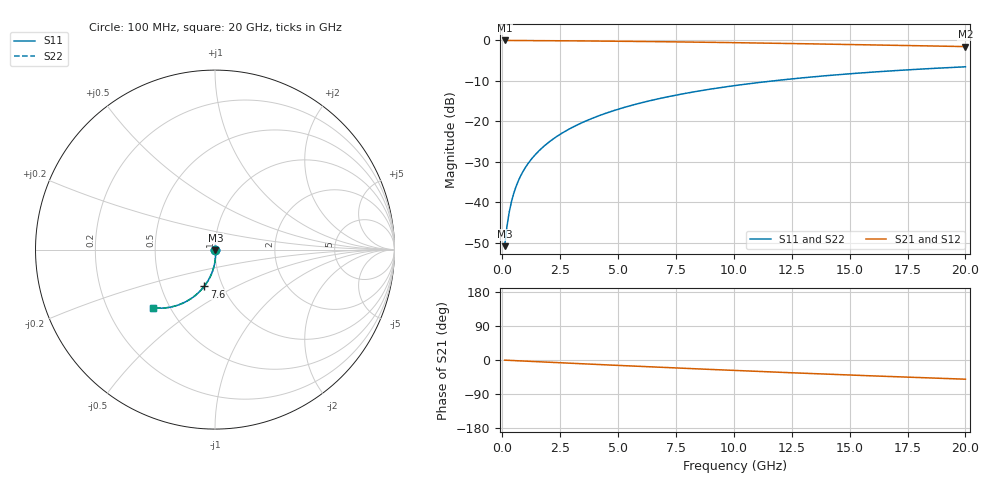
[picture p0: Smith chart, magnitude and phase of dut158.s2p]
! Touchstone file exported from HFSS 2026.1.0
!  File:  C:/ffzhzh/LocalFiles/Ansys_Project_Files/temp_train_BSMRDL_158_1782986741_42984.aedt
!  Generated:  06:07:26 PM Jul  2, 2026
!  Design:  BSMRDL
!  Project:  temp_train_BSMRDL_158_1782986741_42984
! Variables:
!  h_bsmrdl = 5.88um
!  h_ox = 20um
!  h_rdl = 5um
!  h_sub = 80um
!  h_tmrdl = 5um
!  h_tsv = 80um
!  h_via = 3um
!  l_bsmrdl = 730.63um
!  l_sub = 1130.63um
!  l_tmrdl = 200um
!  m_sub = 200um
!  pitch = 25.73um
!  r_tsv = 6um
!  s_tmrdl = 10um
!  w_bsmrdl = 24.57um
!  w_sub = 500um
!  w_tmrdl = 12um
!  x_tsv_center1 = 206um
!  x_tsv_center2 = 961.2um
!  x_tsv_center3 = 1173.2um
!  x_tsv_center4 = 1928.4um
!  x_tsv_center5 = 2140.4um
!  x_tsv_center6 = 2895.6um
# GHz S MA R 50.000000
! Terminal data exported
! Port[1] = BSM_RDL1_1_T1
! Port[2] = BSM_RDL1_1_T2
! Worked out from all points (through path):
!   200 points, 100 MHz to 20 GHz, reference 50 ohm
!   highest |S21| = -0.02 dB at 100 MHz (marker M1); lowest = -1.5 dB at 20 GHz (marker M2)
!   group delay of S21, straight-line fit = 7.03 ps
!   lowest |S11| = -50.8 dB at 100 MHz (marker M3), VSWR 1.01, Z = 50.2 - j0.186 ohm
!   |S11| at or under -10 dB: start of sweep to 11.69 GHz
!   |S22| runs from -50.8 to -6.5 dB; largest |S21 - S12| = 3e-14
!   S11 on the Smith chart (normalised r, x): 100 MHz: 1.00, -0.00; 7.6 GHz: 0.82, -0.35; 20 GHz: 0.41, -0.34
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0.1  0.002889 -39.7  0.9978 -0.3  0.9978 -0.3  0.002889 -39.7
! Gamma 0 0 0 0
! Port Impedance 50 0 50 0
0.2  0.005034 -55.7  0.9971 -0.7  0.9971 -0.7  0.005034 -55.7
0.3  0.007615 -63.9  0.9965 -1.0  0.9965 -1.0  0.007615 -63.9
0.4  0.01034 -69.1  0.9961 -1.3  0.9961 -1.3  0.01034 -69.1
0.5  0.01312 -72.8  0.9957 -1.5  0.9957 -1.5  0.01312 -72.8
0.6  0.01591 -75.6  0.9955 -1.8  0.9955 -1.8  0.01591 -75.6
0.7  0.0187 -77.7  0.9952 -2.1  0.9952 -2.1  0.0187 -77.7
0.8  0.02148 -79.4  0.995 -2.4  0.995 -2.4  0.02148 -79.4
1  0.02706 -81.9  0.9945 -3.0  0.9945 -3.0  0.02706 -81.9
1.4  0.03824 -85.3  0.9934 -4.1  0.9934 -4.1  0.03824 -85.3
1.7  0.04667 -87.0  0.9924 -5.0  0.9924 -5.0  0.04667 -87.0
2  0.05515 -88.4  0.9913 -5.9  0.9913 -5.9  0.05514 -88.4
2.7  0.07511 -91.2  0.9884 -7.9  0.9884 -7.9  0.07511 -91.2
3.5  0.09813 -93.9  0.9845 -10.1  0.9845 -10.1  0.09813 -94.0
4.2  0.1183 -96.2  0.9807 -12.1  0.9807 -12.1  0.1183 -96.2
5  0.1413 -98.7  0.976 -14.3  0.976 -14.3  0.1413 -98.7
6.8  0.1919 -104.1  0.9639 -19.1  0.9639 -19.1  0.1918 -104.1
7.6  0.2137 -106.4  0.9579 -21.2  0.9579 -21.2  0.2136 -106.4
10.1  0.2783 -113.3  0.937 -27.7  0.937 -27.7  0.2783 -113.3
13.4  0.3543 -121.7  0.9055 -35.9  0.9055 -35.9  0.3543 -121.7
16.7  0.4189 -129.4  0.8718 -43.5  0.8718 -43.5  0.4188 -129.5
20  0.4721 -136.5  0.8383 -50.6  0.8383 -50.6  0.4721 -136.6
